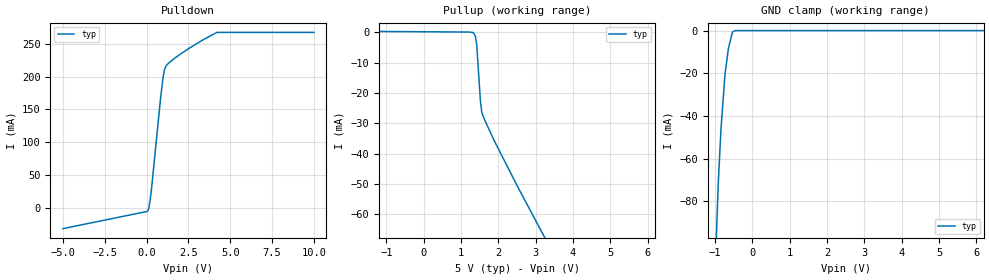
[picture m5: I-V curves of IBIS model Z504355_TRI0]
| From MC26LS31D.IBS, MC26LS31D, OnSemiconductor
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| (C) COPYRIGHT 1993-2000
| MENTOR GRAPHICS CORPORATION
| ICX STANDARD LIBRARY, ICX PROJECT MODELING,
| ICX CUSTOM MODELING, ICX VENDOR MODEL
| ALL RIGHTS RESERVED.
| THE FOLLOWING ARE TRADEMARKS OR SERVICE MARKS OF
| MENTOR GRAPHICS CORPORATION:ICX (R), ICX STANDARD
| LIBRARY(R), ICX PROJECT MODELING(R), ICX CUSTOM
| MODELING(R), qualityIBIS(TM), MODELVIEWER(TM),
| AND MODELEDITOR(TM)
| ALL COPIES OF SOFTWARE, INCLUDING BUT NOT LIMITED TO
| ANY MODIFICATIONS, ENHANCEMENTS OR DERIVATIVE WORKS,
| MUST CONTAIN ALL MENTOR GRAPHICS CORPORATION'S
| NOTICES AND LEGENDS, INCLUDING THOSE EMBEDDED IN
| SOFTWARE AND THOSE AFFIXED TO SOFTWARE MEDIUM
| AND CONTAINER, AS RECEIVED FROM MENTOR GRAPHICS
| CORPORATION.
| Model Application Version 1.89 2/18/99.
[Model] Z504355_TRI0
Model_type 3-state
Vref=1.471V
Rref=52.94ohms
Cref=30.00pF
Vmeas=1.300V
C_comp 8.000pF NA NA
| variable typ   min   max
[Voltage Range] 5.000V NA NA
[POWER Clamp Reference] 5.000V NA NA
[Pullup Reference] 5.000V NA NA
[Pulldown Reference] 0.000V NA NA
[GND Clamp Reference] 0.000V NA NA
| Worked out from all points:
|   slope of the pulldown table from 0 to 0.75 V, typ, clamps not added: 5.02 ohm
|   slope of the pullup table from 0 to 0.75 V, typ, clamps not added: 12.1 kohm
|   GND clamp passes 1 mA (typ) near -0.54 V on its own axis
[GND Clamp]
-5V       -2.518A    NA         NA
-1.021V   -124.1mA   NA         NA
-915.3mV  -72.08mA   NA         NA
-840.8mV  -45.83mA   NA         NA
-732.4mV  -20.24mA   NA         NA
-640.9mV  -8.177mA   NA         NA
-532.8mV  -662.7uA   NA         NA
-456.7mV  0A         NA         NA
10V       0A         NA         NA
[Pulldown]
-5V       -30.89mA   NA         NA
84.53mV   -3.513mA   NA         NA
145.1mV   1.021mA    NA         NA
228.2mV   14.45mA    NA         NA
311.4mV   32.92mA    NA         NA
846.8mV   168.9mA    NA         NA
995.9mV   199.7mA    NA         NA
1.081V    211.1mA    NA         NA
1.178V    216.6mA    NA         NA
1.686V    227.9mA    NA         NA
4.215V    267mA      NA         NA
10V       267mA      NA         NA
[Pullup]
-5V       647uA      NA         NA
1.221V    134.3uA    NA         NA
1.304V    8.345uA    NA         NA
1.344V    -249.6uA   NA         NA
1.382V    -1.204mA   NA         NA
1.418V    -3.659mA   NA         NA
1.52V     -22.74mA   NA         NA
1.556V    -26.31mA   NA         NA
1.594V    -27.8mA    NA         NA
1.884V    -35.61mA   NA         NA
2.491V    -50.32mA   NA         NA
10V       -224.3mA   NA         NA
[POWER Clamp]
-5V       0A         NA         NA
10V       0A         NA         NA
[Ramp]
| variable typ min max
dV/dt_r 2.061/5.897n NA NA
dV/dt_f 2.061/2.900n NA NA
R_load = 500.0Ohms
